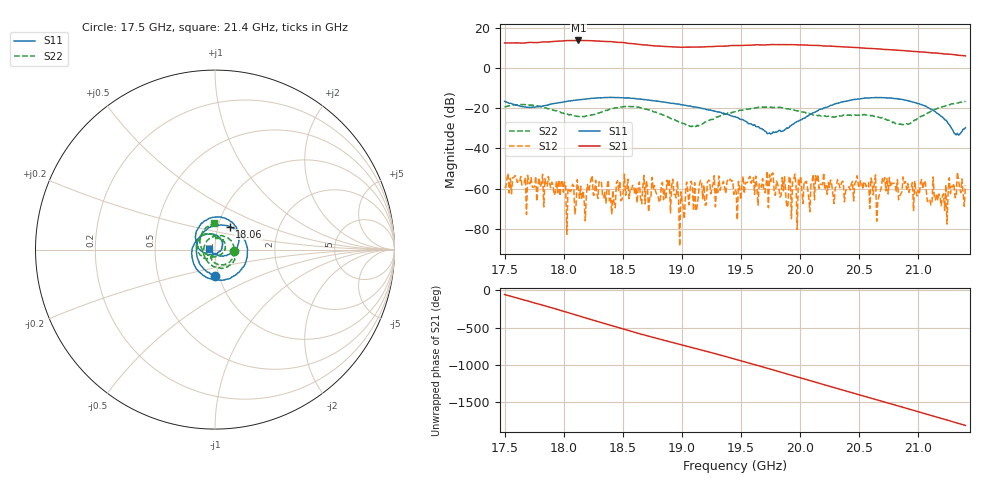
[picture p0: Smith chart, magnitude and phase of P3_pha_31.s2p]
!Created with skrf (http://scikit-rf.org).
# GHz S RI R 50.0
!freq ReS11 ImS11 ReS21 ImS21 ReS12 ImS12 ReS22 ImS22
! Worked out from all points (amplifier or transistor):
!   401 points, 17.5 GHz to 21.4 GHz, reference 50 ohm
!   highest |S21| = 13.7 dB at 18.12 GHz (marker M1)
!   |S21| within 3 dB of that: start of sweep to 18.85 GHz (the widest 1 of 2)
!   unconditionally stable (mu >= 1): start of sweep to end of sweep
!   at 18.14 GHz: K = 86.98, MAG = 13.8 dB, |S12| = -58.7 dB
!   at 19.45 GHz: K = 143.22, MAG = 11.2 dB, |S12| = -60.4 dB
!   at 21.4 GHz: K = 204.70, MAG = 6.1 dB, |S12| = -58.5 dB
!   S11 on the Smith chart (normalised r, x): 17.5 GHz: 0.96, -0.29; 18.06 GHz: 1.13, +0.30; 21.4 GHz: 0.94, +0.01
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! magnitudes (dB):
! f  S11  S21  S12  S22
! 17.5 GHz  -16.6  12.4  -59.1  -19.5
! 18.06 GHz  -16.4  13.6  -61.6  -23.1
! 18.12 GHz  -15.9  13.7  -59.7  -24.1
! 18.15 GHz  -15.7  13.6  -65.3  -24.1
! 18.22 GHz  -15.2  13.6  -58.8  -23.5
! 18.81 GHz  -16.6  10.9  -66.2  -22.8
! 18.94 GHz  -17.8  10.4  -62.8  -25.8
! 19 GHz  -18.3  10.3  -65.9  -27.4
! 19.06 GHz  -19.0  10.3  -68.1  -28.7
! 19.12 GHz  -19.4  10.3  -71.1  -29.2
! 19.17 GHz  -20.0  10.4  -56.8  -28.1
! 19.41 GHz  -23.6  11.1  -55.3  -22.7
! 19.45 GHz  -24.1  11.2  -60.4  -21.7
! 19.74 GHz  -32.3  11.6  -53.1  -19.3
! 19.91 GHz  -29.5  11.6  -53.8  -20.4
! 20.1 GHz  -22.5  11.2  -56.3  -23.1
! 20.62 GHz  -14.8  9.6  -63.1  -23.8
! 20.67 GHz  -14.7  9.5  -63.7  -24.6
! 20.76 GHz  -14.9  9.1  -54.5  -26.1
! 21.04 GHz  -18.4  7.9  -60.2  -23.8
! 21.1 GHz  -20.2  7.6  -65.2  -22.0
! 21.4 GHz  -29.7  6.0  -58.5  -16.6
